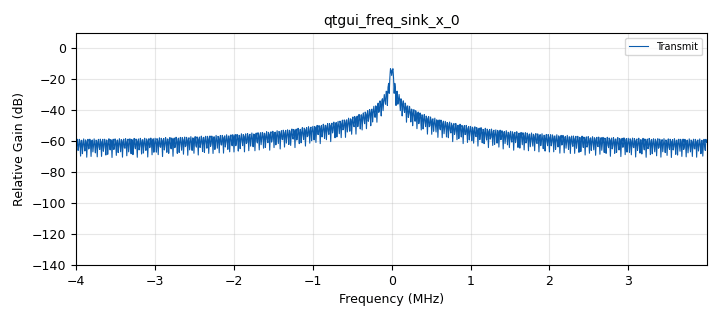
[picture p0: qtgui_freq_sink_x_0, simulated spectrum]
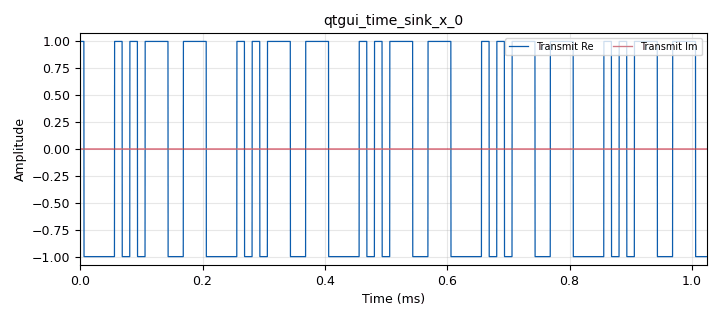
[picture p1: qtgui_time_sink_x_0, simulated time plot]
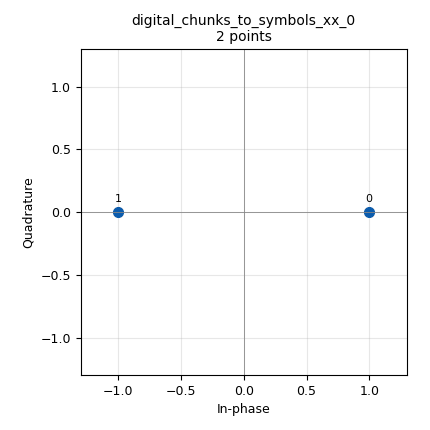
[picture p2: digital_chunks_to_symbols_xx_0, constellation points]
options:
  parameters:
    author: RAAM
    generate_options: qt_gui
    id: FSK_TX
    output_language: python
    title: FSK TX
  states: {}

blocks:
- name: center_freq
  id: variable
  parameters:
    value: 915e6
  states: {}
- name: rtl_samp_rate
  id: variable
  parameters:
    value: 1e6
  states: {}
- name: samp_rate
  id: variable
  parameters:
    value: '8000000'
  states: {}
- name: sps
  id: variable
  parameters:
    value: '100'
  states: {}
- name: tx_frequency
  id: variable_qtgui_range
  parameters:
    label: TX Frequency
    start: '914000000'
    step: '1'
    stop: '915016000'
    value: '914999424'
  states: {}
- name: tx_gain
  id: variable_qtgui_range
  parameters:
    label: TX Gain
    start: '10'
    step: '1'
    stop: '47'
    value: '20'
  states: {}
- name: tx_gain_0
  id: variable_qtgui_range
  parameters:
    label: TX GAIN
    start: '10'
    step: '1'
    stop: '64'
    value: '60'
  states: {}
- name: analog_random_uniform_source_x_0
  id: analog_random_uniform_source_x
  parameters:
    maximum: '2'
    minimum: '0'
    seed: '0'
    type: byte
  states: {state: disabled}
- name: blocks_repeat_0
  id: blocks_repeat
  parameters:
    interp: sps
    type: complex
  states: {}
- name: blocks_vector_source_x_0_0
  id: blocks_vector_source_x
  parameters:
    repeat: 'True'
    type: byte
    vector: '[0,1,0,1,0,0,0,1,1,0,0,0,1,1,1,1]'
  states: {}
- name: digital_chunks_to_symbols_xx_0
  id: digital_chunks_to_symbols_xx
  parameters:
    dimension: '1'
    in_type: byte
    out_type: complex
    symbol_table: '[+1, -1]'
  states: {}
- name: osmosdr_sink_0
  id: osmosdr_sink
  parameters:
    bb_gain0: '20'
    freq0: frequency
    gain0: '10'
    if_gain0: '20'
    sample_rate: samp_rate
    sync: sync
    type: fc32
  states: {state: disabled}
- name: qtgui_freq_sink_x_0
  id: qtgui_freq_sink_x
  parameters:
    bw: samp_rate
    fc: '0'
    fftsize: '1024'
    label1: Transmit
    type: complex
  states: {}
- name: qtgui_time_sink_x_0
  id: qtgui_time_sink_x
  parameters:
    label1: Transmit Re
    label2: Transmit Im
    size: 1024*8
    srate: samp_rate
    type: complex
  states: {}
- name: soapy_limesdr_sink_0
  id: soapy_limesdr_sink
  parameters:
    center_freq: tx_frequency
    gain: tx_gain
    samp_rate: samp_rate
    type: fc32
  states: {}

connections:
- [analog_random_uniform_source_x_0, '0', digital_chunks_to_symbols_xx_0, '0']
- [blocks_repeat_0, '0', osmosdr_sink_0, '0']
- [blocks_repeat_0, '0', qtgui_freq_sink_x_0, '0']
- [blocks_repeat_0, '0', qtgui_time_sink_x_0, '0']
- [blocks_repeat_0, '0', soapy_limesdr_sink_0, '0']
- [blocks_vector_source_x_0_0, '0', digital_chunks_to_symbols_xx_0, '0']
- [digital_chunks_to_symbols_xx_0, '0', blocks_repeat_0, '0']

metadata:
  file_format: 1
